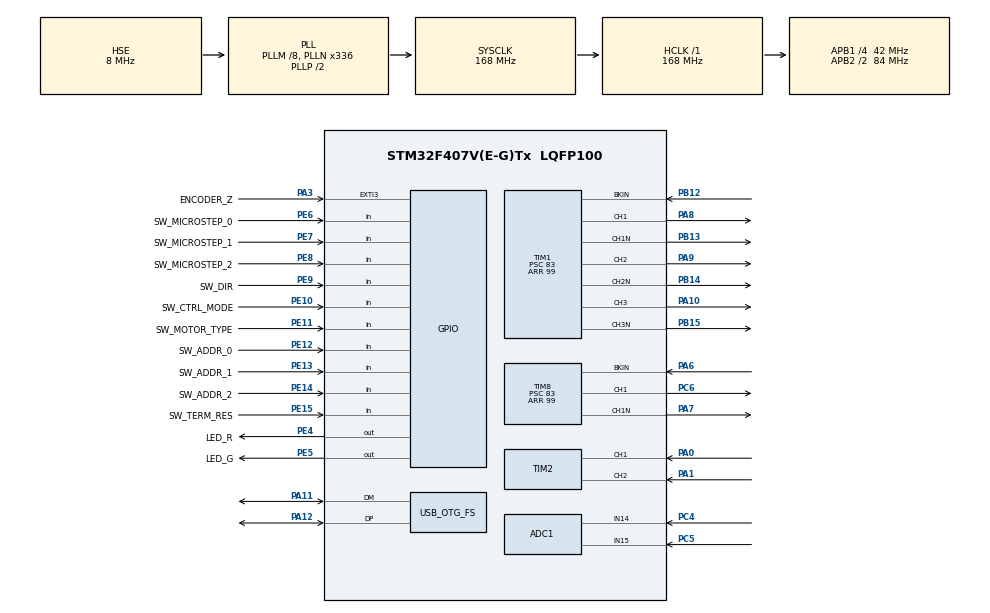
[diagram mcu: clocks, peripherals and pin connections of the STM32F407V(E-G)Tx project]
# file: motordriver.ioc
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ADC1.Channel-0\#ChannelRegularConversion=ADC_CHANNEL_14
ADC1.Channel-1\#ChannelInjectedConversion=ADC_CHANNEL_14
ADC1.Channel-2\#ChannelInjectedConversion=ADC_CHANNEL_15
ADC1.EOCSelection=ADC_EOC_SEQ_CONV
ADC1.ExternalTrigInjecConv=ADC_EXTERNALTRIGINJECCONV_T1_TRGO
ADC1.ExternalTrigInjecConvEdge=ADC_EXTERNALTRIGINJECCONVEDGE_RISING
ADC1.InjNumberOfConversion=2
ADC1.InjectedOffset-1\#ChannelInjectedConversion=0
ADC1.InjectedOffset-2\#ChannelInjectedConversion=0
ADC1.InjectedRank-1\#ChannelInjectedConversion=1
ADC1.InjectedRank-2\#ChannelInjectedConversion=2
ADC1.NbrOfConversionFlag=1
ADC1.Rank-0\#ChannelRegularConversion=1
ADC1.SamplingTime-0\#ChannelRegularConversion=ADC_SAMPLETIME_3CYCLES
ADC1.SamplingTime-1\#ChannelInjectedConversion=ADC_SAMPLETIME_56CYCLES
ADC1.SamplingTime-2\#ChannelInjectedConversion=ADC_SAMPLETIME_56CYCLES
ADC1.ScanConvMode=ENABLE
ADC1.master=1
Mcu.Family=STM32F4
Mcu.Name=STM32F407V(E-G)Tx
Mcu.Package=LQFP100
NVIC.ADC_IRQn=true\:4\:0\:true\:false\:true\:true\:true\:true
NVIC.EXTI3_IRQn=true\:6\:0\:true\:false\:true\:true\:true\:true
NVIC.OTG_FS_IRQn=true\:7\:0\:true\:false\:true\:false\:true\:true
NVIC.PriorityGroup=NVIC_PRIORITYGROUP_4
NVIC.TIM6_DAC_IRQn=true\:5\:0\:true\:false\:true\:true\:true\:true
PA0-WKUP.GPIO_PuPd=GPIO_NOPULL
PA0-WKUP.GPIO_Speed=GPIO_SPEED_FREQ_HIGH
PA0-WKUP.Signal=S_TIM2_CH1_ETR
PA1.GPIO_Speed=GPIO_SPEED_FREQ_HIGH
PA1.Signal=S_TIM2_CH2
PA10.Signal=S_TIM1_CH3
PA11.Mode=Device_Only
PA11.Signal=USB_OTG_FS_DM
PA12.Mode=Device_Only
PA12.Signal=USB_OTG_FS_DP
PA13.Mode=Serial_Wire
PA13.Signal=SYS_JTMS-SWDIO
PA14.Mode=Serial_Wire
PA14.Signal=SYS_JTCK-SWCLK
PA3.GPIO_Label=ENCODER_Z
PA3.GPIO_ModeDefaultEXTI=GPIO_MODE_IT_RISING
PA3.Signal=GPXTI3
PA6.GPIO_PuPd=GPIO_PULLUP
PA6.Mode=Activate-Break-Input
PA6.Signal=TIM8_BKIN
PA7.Mode=PWM Generation1 CH1 CH1N
PA7.Signal=TIM8_CH1N
PA8.Signal=S_TIM1_CH1
PA9.Signal=S_TIM1_CH2
PB12.GPIO_PuPd=GPIO_PULLUP
PB12.Mode=Activate-Break-Input
PB12.Signal=TIM1_BKIN
PB13.Mode=PWM Generation1 CH1 CH1N
PB13.Signal=TIM1_CH1N
PB14.Mode=PWM Generation2 CH2 CH2N
PB14.Signal=TIM1_CH2N
PB15.Mode=PWM Generation3 CH3 CH3N
PB15.Signal=TIM1_CH3N
PC4.Signal=ADCx_IN14
PC5.Signal=ADCx_IN15
PC6.Signal=S_TIM8_CH1
PE10.GPIO_Label=SW_CTRL_MODE
PE10.GPIO_PuPd=GPIO_PULLUP
PE10.Signal=GPIO_Input
PE11.GPIO_Label=SW_MOTOR_TYPE
PE11.GPIO_PuPd=GPIO_PULLUP
PE11.Signal=GPIO_Input
PE12.GPIO_Label=SW_ADDR_0
PE12.GPIO_PuPd=GPIO_PULLUP
PE12.Signal=GPIO_Input
PE13.GPIO_Label=SW_ADDR_1
PE13.GPIO_PuPd=GPIO_PULLUP
PE13.Signal=GPIO_Input
PE14.GPIO_Label=SW_ADDR_2
PE14.GPIO_PuPd=GPIO_PULLUP
PE14.Signal=GPIO_Input
PE15.GPIO_Label=SW_TERM_RES
PE15.GPIO_PuPd=GPIO_PULLUP
PE15.Signal=GPIO_Input
PE4.GPIO_Label=LED_R
PE4.GPIO_PuPd=GPIO_PULLUP
PE4.PinState=GPIO_PIN_SET
PE4.Signal=GPIO_Output
PE5.GPIO_Label=LED_G
PE5.GPIO_PuPd=GPIO_PULLUP
PE5.PinState=GPIO_PIN_SET
PE5.Signal=GPIO_Output
PE6.GPIO_Label=SW_MICROSTEP_0
PE6.GPIO_PuPd=GPIO_PULLUP
PE6.Signal=GPIO_Input
PE7.GPIO_Label=SW_MICROSTEP_1
PE7.GPIO_PuPd=GPIO_PULLUP
PE7.Signal=GPIO_Input
PE8.GPIO_Label=SW_MICROSTEP_2
PE8.GPIO_Mode=GPIO_MODE_INPUT
PE8.GPIO_PuPd=GPIO_PULLUP
PE8.Signal=GPIO_Input
PE9.GPIO_Label=SW_DIR
PE9.GPIO_PuPd=GPIO_PULLUP
PE9.Signal=GPIO_Input
PH0-OSC_IN.Mode=HSE-External-Oscillator
PH0-OSC_IN.Signal=RCC_OSC_IN
PH1-OSC_OUT.Mode=HSE-External-Oscillator
PH1-OSC_OUT.Signal=RCC_OSC_OUT
ProjectManager.HeapSize=0x600
ProjectManager.StackSize=0x400
ProjectManager.TargetToolchain=MDK-ARM V5.32
RCC.48MHZClocksFreq_Value=48000000
RCC.AHBFreq_Value=168000000
RCC.APB1CLKDivider=RCC_HCLK_DIV4
RCC.APB1Freq_Value=42000000
RCC.APB1TimFreq_Value=84000000
RCC.APB2CLKDivider=RCC_HCLK_DIV2
RCC.APB2Freq_Value=84000000
RCC.APB2TimFreq_Value=168000000
RCC.CortexFreq_Value=168000000
RCC.HCLKFreq_Value=168000000
RCC.HSE_VALUE=8000000
RCC.HSI_VALUE=16000000
RCC.LSE_VALUE=32768
RCC.PLLM=8
RCC.PLLN=336
RCC.PLLQ=7
RCC.SYSCLKFreq_VALUE=168000000
RCC.SYSCLKSource=RCC_SYSCLKSOURCE_PLLCLK
RCC.VCOOutputFreq_Value=336000000
SH.ADCx_IN14.0=ADC1_IN14,IN14
SH.ADCx_IN15.0=ADC1_IN15,IN15
SH.S_TIM1_CH1.0=TIM1_CH1,PWM Generation1 CH1 CH1N
SH.S_TIM1_CH2.0=TIM1_CH2,PWM Generation2 CH2 CH2N
SH.S_TIM1_CH3.0=TIM1_CH3,PWM Generation3 CH3 CH3N
SH.S_TIM2_CH1_ETR.0=TIM2_CH1,Encoder_Interface
SH.S_TIM2_CH2.0=TIM2_CH2,Encoder_Interface
SH.S_TIM8_CH1.0=TIM8_CH1,PWM Generation1 CH1 CH1N
TIM1.AutomaticOutput=TIM_AUTOMATICOUTPUT_ENABLE
TIM1.BreakPolarity=TIM_BREAKPOLARITY_LOW
TIM1.BreakState=TIM_BREAK_ENABLE
TIM1.Channel-PWM\ Generation1\ CH1\ CH1N=TIM_CHANNEL_1
TIM1.Channel-PWM\ Generation2\ CH2\ CH2N=TIM_CHANNEL_2
TIM1.Channel-PWM\ Generation3\ CH3\ CH3N=TIM_CHANNEL_3
TIM1.Channel-PWM\ Generation4\ No\ Output=TIM_CHANNEL_4
TIM1.OCIdleState_1=TIM_OCIDLESTATE_SET
TIM1.OCIdleState_2=TIM_OCIDLESTATE_SET
TIM1.OCIdleState_3=TIM_OCIDLESTATE_SET
TIM1.OCMode_PWM-PWM\ Generation4\ No\ Output=TIM_OCMODE_PWM2
TIM1.OCNIdleState_1=TIM_OCNIDLESTATE_RESET
TIM1.OCNIdleState_2=TIM_OCNIDLESTATE_RESET
TIM1.OCNIdleState_3=TIM_OCNIDLESTATE_RESET
TIM1.OCNPolarity_1=TIM_OCNPOLARITY_LOW
TIM1.OCNPolarity_2=TIM_OCNPOLARITY_LOW
TIM1.OCNPolarity_3=TIM_OCNPOLARITY_LOW
TIM1.OffStateIDLEMode=TIM_OSSI_ENABLE
TIM1.OffStateRunMode=TIM_OSSR_ENABLE
TIM1.Period=99
TIM1.Prescaler=83
TIM1.Pulse-PWM\ Generation1\ CH1\ CH1N=49
TIM1.Pulse-PWM\ Generation2\ CH2\ CH2N=49
TIM1.Pulse-PWM\ Generation3\ CH3\ CH3N=49
TIM1.Pulse-PWM\ Generation4\ No\ Output=50
TIM1.TIM_MasterOutputTrigger=TIM_TRGO_OC4REF
TIM2.EncoderMode=TIM_ENCODERMODE_TI12
TIM2.IC1Filter=6
TIM2.IC2Filter=6
TIM6.Period=99
TIM6.Prescaler=83
TIM8.BreakPolarity=TIM_BREAKPOLARITY_LOW
TIM8.BreakState=TIM_BREAK_ENABLE
TIM8.Channel-PWM\ Generation1\ CH1\ CH1N=TIM_CHANNEL_1
TIM8.OCIdleState_1=TIM_OCIDLESTATE_SET
TIM8.OCNIdleState_1=TIM_OCNIDLESTATE_RESET
TIM8.OCNPolarity_1=TIM_OCNPOLARITY_LOW
TIM8.OffStateIDLEMode=TIM_OSSI_ENABLE
TIM8.OffStateRunMode=TIM_OSSR_ENABLE
TIM8.Period=99
TIM8.Prescaler=83
USB_DEVICE.CLASS_NAME_FS=CDC
USB_DEVICE.VirtualMode-CDC_FS=Cdc
USB_DEVICE.VirtualModeFS=Cdc_FS
USB_OTG_FS.VirtualMode=Device_Only
VP_TIM1_VS_ClockSourceINT.Mode=Internal
VP_TIM1_VS_no_output4.Mode=PWM Generation4 No Output
VP_TIM6_VS_ClockSourceINT.Mode=Enable_Timer
VP_TIM8_VS_ClockSourceINT.Mode=Internal
VP_USB_DEVICE_VS_USB_DEVICE_CDC_FS.Mode=CDC_FS
board=custom

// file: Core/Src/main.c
/* USER CODE BEGIN Header */
/**
  ******************************************************************************
  * @file           : main.c
  * @brief          : Main program body
  ******************************************************************************
  * @attention
  *
  * Copyright (c) 2026 STMicroelectronics.
  * All rights reserved.
  *
  * This software is licensed under terms that can be found in the LICENSE file
  * in the root directory of this software component.
  * If no LICENSE file comes with this software, it is provided AS-IS.
  *
  ******************************************************************************
  */
/* USER CODE END Header */
#include "main.h"
#include "adc.h"
#include "tim.h"
#include "usb_device.h"
#include "gpio.h"

/* USER CODE BEGIN Includes */
#include "dip_switch.h"
#include "motor_driver.h"
#include "stepper_driver.h"
#include "driver_eg2131_gpio.h"
#include "FOC.h"
#include "adc_task.h"
#include "motion_trap2.h"
#include "encoder.h"
#include "vofa.h"
#include "math.h"
/* USER CODE END Includes */

/* USER CODE BEGIN PD */
#define VDC_NOMINAL   24.0f

#ifndef M_PI
#define M_PI 3.14159265358979323846
#endif

#define CTRL_DT             0.0001f   // TIM6 = 10kHz
#define ELEC_CYCLE_PER_REV  50.0f     // 1.8°步进常用：每机械转 50 个电角周期

/* USER CODE END PD */

/* USER CODE BEGIN PV */
DipSwitch_TypeDef dip_switch;

encoder_t enc;

volatile float g_uq_target_ratio = 0.40f;
volatile float g_test_theta = 0.0f;
volatile uint8_t g_test_run = 1;

// m1_foc 在 FOC.c 里定义，这里直接用 extern
extern foc_TypeDef m1_foc;
/* USER CODE END PV */

void SystemClock_Config(void);

int main(void)
{

  /* MCU Configuration--------------------------------------------------------*/

  /* Reset of all peripherals, Initializes the Flash interface and the Systick. */
  HAL_Init();

  /* Configure the system clock */
  SystemClock_Config();

  /* Initialize all configured peripherals */
  MX_GPIO_Init();
  MX_USB_DEVICE_Init();
  MX_TIM1_Init();
  MX_TIM8_Init();
  MX_TIM6_Init();
  MX_ADC1_Init();
  MX_TIM2_Init();
  /* USER CODE BEGIN 2 */
  VOFA_Init();

  // FOC初始化（使用你现在的新FOC）
  FOC_Init();
  FOC_OpenLoopInit(&m1_foc, VDC_NOMINAL, 0.0f, 0.0f);

  // 可按需要修改
  m1_foc.Udc = VDC_NOMINAL;
  m1_foc.outmax = VDC_NOMINAL;
  m1_foc.duty_max = 0.90f;
  m1_foc.deadband = 0.00f;

  //MotionTrap2_Init(&motion);
// 先给一个固定超前角，直接沿用第一份经验
m1_foc.lead_angle = 256;
  Encoder_Init(&enc);
  Encoder_Start(&enc, &htim2);
  Encoder_Zero(&enc, &htim2);
  g_test_theta = 0.0f;
  g_test_run = 1;
  g_uq_target_ratio = 0.40f;  // 改uq
  // 启动控制中断
  HAL_TIM_Base_Start_IT(&htim6);

  // 上电先关输出
  FOC_AllOff();
  /* USER CODE END 2 */

  /* Infinite loop */
  /* USER CODE BEGIN WHILE */
  while (1)
  {
    static uint32_t last_vofa = 0;
    uint32_t now = HAL_GetTick();
    if (now - last_vofa >= 20)
    {
        last_vofa = now;

        VOFA_SendFrame6(
            g_test_theta,
            m1_foc.Uq,
            g_uq_target_ratio,
            enc.pos_rev,
            enc.vel_rpm_f,
            (float)m1_foc.sector
        );
    }

    VOFA_Process();
    /* USER CODE END WHILE */

  }
}

void SystemClock_Config(void)
{
  RCC_OscInitTypeDef RCC_OscInitStruct = {0};
  RCC_ClkInitTypeDef RCC_ClkInitStruct = {0};

  /** Configure the main internal regulator output voltage
  */
  __HAL_RCC_PWR_CLK_ENABLE();
  __HAL_PWR_VOLTAGESCALING_CONFIG(PWR_REGULATOR_VOLTAGE_SCALE1);

  /** Initializes the RCC Oscillators according to the specified parameters
  * in the RCC_OscInitTypeDef structure.
  */
  RCC_OscInitStruct.OscillatorType = RCC_OSCILLATORTYPE_HSE;
  RCC_OscInitStruct.HSEState = RCC_HSE_ON;
  RCC_OscInitStruct.PLL.PLLState = RCC_PLL_ON;
  RCC_OscInitStruct.PLL.PLLSource = RCC_PLLSOURCE_HSE;
  RCC_OscInitStruct.PLL.PLLM = 8;
  RCC_OscInitStruct.PLL.PLLN = 336;
  RCC_OscInitStruct.PLL.PLLP = RCC_PLLP_DIV2;
  RCC_OscInitStruct.PLL.PLLQ = 7;
  if (HAL_RCC_OscConfig(&RCC_OscInitStruct) != HAL_OK)
  {
    Error_Handler();
  }

  /** Initializes the CPU, AHB and APB buses clocks
  */
  RCC_ClkInitStruct.ClockType = RCC_CLOCKTYPE_HCLK|RCC_CLOCKTYPE_SYSCLK
                              |RCC_CLOCKTYPE_PCLK1|RCC_CLOCKTYPE_PCLK2;
  RCC_ClkInitStruct.SYSCLKSource = RCC_SYSCLKSOURCE_PLLCLK;
  RCC_ClkInitStruct.AHBCLKDivider = RCC_SYSCLK_DIV1;
  RCC_ClkInitStruct.APB1CLKDivider = RCC_HCLK_DIV4;
  RCC_ClkInitStruct.APB2CLKDivider = RCC_HCLK_DIV2;

  if (HAL_RCC_ClockConfig(&RCC_ClkInitStruct, FLASH_LATENCY_5) != HAL_OK)
  {
    Error_Handler();
  }
}

/* USER CODE BEGIN 4 */

// TIM6中断回调函数，10kHz / 100us
void HAL_TIM_PeriodElapsedCallback(TIM_HandleTypeDef *htim)
{
    if (htim->Instance == TIM6)
    {
        Encoder_Update(&enc, &htim2, CTRL_DT);

        m1_foc.Udc = VDC_NOMINAL;
        FOC_OpenLoopSetUqRatio(&m1_foc, g_uq_target_ratio);

        if (g_test_run)
        {
            static float mech_rpm_cmd = 0.0f;
            const float mech_rpm_target = 200.0f;//改速度

            // 最简单升速斜坡
            if (mech_rpm_cmd < mech_rpm_target)
            {
                mech_rpm_cmd += 0.05f;
                if (mech_rpm_cmd > mech_rpm_target)
                    mech_rpm_cmd = mech_rpm_target;
            }

            const float mech_rps = mech_rpm_cmd / 60.0f;
            const float fe_hz = mech_rps * ELEC_CYCLE_PER_REV;
            const float dtheta = 2.0f * (float)M_PI * fe_hz * CTRL_DT;

            g_test_theta += dtheta;
            while (g_test_theta >= 2.0f * (float)M_PI)
            {
                g_test_theta -= 2.0f * (float)M_PI;
            }

            float theta_cmd = g_test_theta
                            + 2.0f * (float)M_PI * ((float)m1_foc.lead_angle / 1024.0f);

            while (theta_cmd >= 2.0f * (float)M_PI)
            {
                theta_cmd -= 2.0f * (float)M_PI;
            }

            FOC_OutputByTheta(&m1_foc, theta_cmd, m1_foc.Uq);
        }
        else
        {
            FOC_AllOff();
        }
    }
}

// 外部中断回调
/*
void HAL_GPIO_EXTI_Callback(uint16_t GPIO_Pin)
{
    if (GPIO_Pin == ENCODER_Z_Pin)
    {
        g_z_seen++;

        if (!g_z_homed)
        {
            g_z_homed = 1;
            Encoder_Zero(&enc, &htim2);
        }
    }
}
*/
/* USER CODE END 4 */

void Error_Handler(void)
{
  __disable_irq();
  while (1)
  {
  }
}
